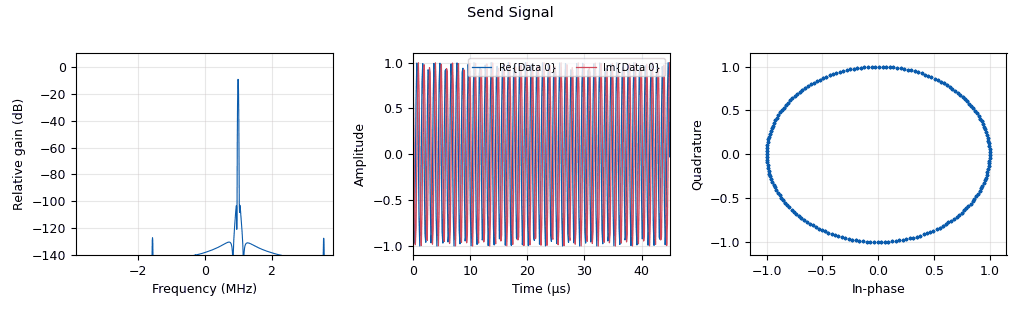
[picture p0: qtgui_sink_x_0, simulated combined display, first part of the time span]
options:
  parameters:
    author: Thomas Florkowski
    generate_options: qt_gui
    id: cosine_transmission_sdr8
    output_language: python
    title: Cosine Transmission SDR8
  states: {}

blocks:
- name: buffer_size
  id: variable
  parameters:
    value: '0x4000'
  states: {}
- name: period_samples
  id: variable
  parameters:
    value: '32768'
  states: {}
- name: samp_rate
  id: variable
  parameters:
    value: '7680000'
  states: {}
- name: analog_sig_source_x_0_0
  id: analog_sig_source_x
  parameters:
    amp: '1'
    freq: '1000000'
    offset: '0'
    phase: '0'
    samp_rate: samp_rate
    type: complex
    waveform: analog.GR_COS_WAVE
  states: {}
- name: nat_amc_zynqup_sdr8_sink_0
  id: nat_amc_zynqup_sdr8_sink
  parameters:
    attenuation1: '10.0'
    attenuation2: '10.0'
    attenuation3: '10.0'
    attenuation4: '10.0'
    attenuation5: '10.0'
    attenuation6: '10.0'
    attenuation7: '10.0'
    attenuation8: '10.0'
    buffer_size: '32768'
    cyclic: 'False'
    leak_tracking1: '1'
    leak_tracking2: '0'
    leak_tracking3: '0'
    leak_tracking4: '0'
    leak_tracking5: '0'
    leak_tracking6: '0'
    leak_tracking7: '0'
    leak_tracking8: '0'
    lo_frequency1: '2400000000'
    lo_frequency2: '2400000000'
    lo_frequency3: '2400000000'
    lo_frequency4: '2400000000'
    quad_tracking1: '1'
    quad_tracking2: '0'
    quad_tracking3: '0'
    quad_tracking4: '0'
    quad_tracking5: '0'
    quad_tracking6: '0'
    quad_tracking7: '0'
    quad_tracking8: '0'
    samplerate: '7680000'
    tx1_en: '1'
    tx2_en: '0'
    tx3_en: '0'
    tx4_en: '0'
    tx5_en: '0'
    tx6_en: '0'
    tx7_en: '0'
    tx8_en: '0'
    tx_lol_en1: '1'
    tx_lol_en2: '1'
    tx_lol_en3: '1'
    tx_lol_en4: '1'
    tx_qec_en1: '1'
    tx_qec_en2: '1'
    tx_qec_en3: '1'
    tx_qec_en4: '1'
    uri: ip:192.168.1.160
  states: {}
- name: nat_amc_zynqup_sdr8_source_0
  id: nat_amc_zynqup_sdr8_source
  parameters:
    buffer_size: '32768'
    gain1: '30.0'
    gain2: '30.0'
    gain3: '30.0'
    gain4: '30.0'
    gain5: '10.0'
    gain6: '10.0'
    gain7: '10.0'
    gain8: '10.0'
    gain_mode1: '''slow_attack'''
    gain_mode2: '''manual'''
    gain_mode3: '''manual'''
    gain_mode4: '''manual'''
    hd2_tracking1: '0'
    hd2_tracking2: '0'
    hd2_tracking3: '0'
    hd2_tracking4: '0'
    hd2_tracking5: '0'
    hd2_tracking6: '0'
    hd2_tracking7: '0'
    hd2_tracking8: '0'
    lo_frequency1: '2400000000'
    lo_frequency2: '2400000000'
    lo_frequency3: '2400000000'
    lo_frequency4: '2400000000'
    quad_tracking1: '0'
    quad_tracking2: '0'
    quad_tracking3: '0'
    quad_tracking4: '0'
    quad_tracking5: '0'
    quad_tracking6: '0'
    quad_tracking7: '0'
    quad_tracking8: '0'
    rx1_en: '1'
    rx2_en: '0'
    rx3_en: '0'
    rx4_en: '0'
    rx5_en: '0'
    rx6_en: '0'
    rx7_en: '0'
    rx8_en: '0'
    rx_phase_corr_en1: '1'
    rx_phase_corr_en2: '1'
    rx_phase_corr_en3: '1'
    rx_phase_corr_en4: '1'
    rx_qec_en1: '1'
    rx_qec_en2: '1'
    rx_qec_en3: '1'
    rx_qec_en4: '1'
    samplerate: '7680000'
    uri: ip:192.168.1.160
  states: {}
- name: qtgui_sink_x_0
  id: qtgui_sink_x
  parameters:
    bw: samp_rate
    fc: '0'
    fftsize: '1024'
    name: '"Send Signal"'
    type: complex
    wintype: firdes.WIN_BLACKMAN_hARRIS
  states: {}
- name: qtgui_sink_x_1
  id: qtgui_sink_x
  parameters:
    bw: samp_rate
    fc: '2400000000'
    fftsize: '1024'
    name: '"Received Signal"'
    type: complex
    wintype: firdes.WIN_BLACKMAN_hARRIS
  states: {}

connections:
- [analog_sig_source_x_0_0, '0', nat_amc_zynqup_sdr8_sink_0, '0']
- [analog_sig_source_x_0_0, '0', qtgui_sink_x_0, '0']
- [nat_amc_zynqup_sdr8_source_0, '0', qtgui_sink_x_1, '0']

metadata:
  file_format: 1
